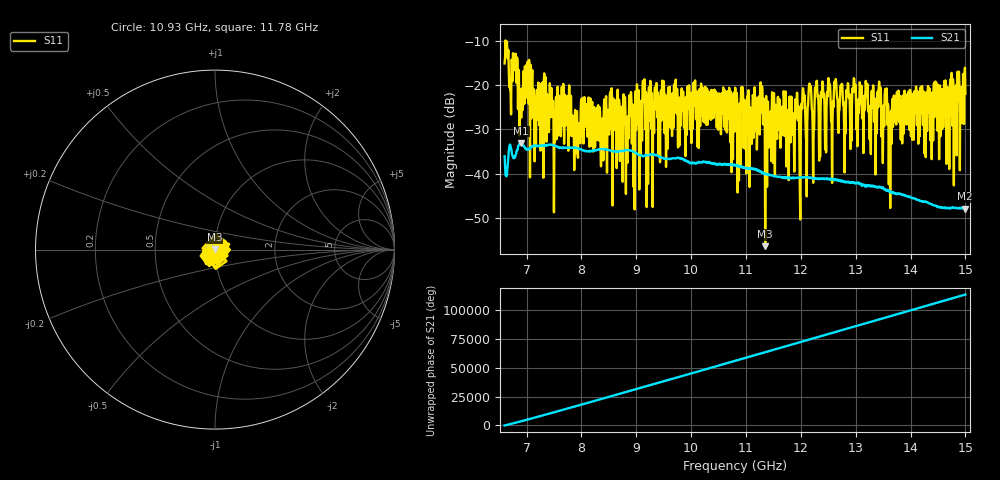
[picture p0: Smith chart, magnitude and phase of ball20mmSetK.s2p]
!Keysight Technologies,N5235B,MY61252044,A.15.00.15
!Date: Friday, January 20, 2023 23:03:29
!Correction: S11(Off)
!S21(Off)
!S12(Off)
!S22(Off)
!S2P File: Measurements: S11, S21, S12, S22:
# Hz S  RI  R 50
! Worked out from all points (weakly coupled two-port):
!   1000 points, 6.6 GHz to 15 GHz, reference 50 ohm
!   highest |S21| = -33.07 dB at 6.903 GHz (marker M1); lowest = -47.9 dB at 14.99 GHz (marker M2)
!   lowest |S11| = -56.4 dB at 11.35 GHz (marker M3), VSWR 1.00, Z = 50 + j0.144 ohm
!   |S11| at or under -10 dB: start of sweep to 6.616596 GHz; 6.617 GHz to end of sweep
!   S12 and S22 are empty: the file has one direction only
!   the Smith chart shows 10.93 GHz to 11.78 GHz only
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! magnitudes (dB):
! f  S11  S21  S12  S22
! 6.6 GHz  -15.1  -36.0  -  -
! 6.701 GHz  -21.1  -33.4  -  -
! 6.793 GHz  -16.6  -36.2  -  -
! 6.903 GHz  -27.4  -33.1  -  -
! 7.012 GHz  -21.9  -34.5  -  -
! 7.155 GHz  -25.7  -33.7  -  -
! 8.004 GHz  -28.3  -34.6  -  -
! 9.4 GHz  -23.1  -36.0  -  -
! 10.8 GHz  -20.6  -38.2  -  -
! 11.3 GHz  -21.2  -39.8  -  -
! 11.35 GHz  -56.4  -39.9  -  -
! 11.93 GHz  -21.7  -40.9  -  -
! 11.98 GHz  -42.8  -40.8  -  -
! 12.17 GHz  -20.5  -40.9  -  -
! 12.2 GHz  -25.4  -40.9  -  -
! 12.97 GHz  -18.6  -42.0  -  -
! 13.27 GHz  -28.5  -42.7  -  -
! 13.55 GHz  -24.2  -43.8  -  -
! 13.6 GHz  -42.4  -43.9  -  -
! 13.74 GHz  -28.9  -44.5  -  -
! 14.99 GHz  -16.0  -47.9  -  -
! 15 GHz  -21.9  -47.8  -  -
